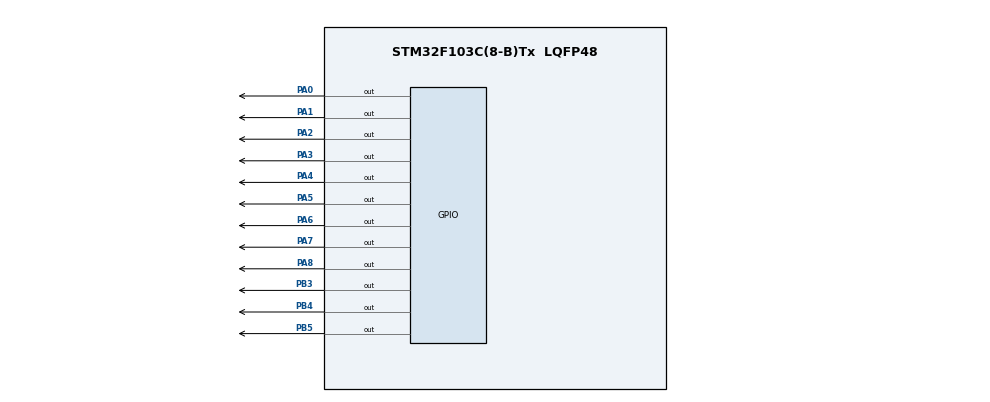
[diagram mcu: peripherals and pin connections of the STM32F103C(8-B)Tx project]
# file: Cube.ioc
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Mcu.Family=STM32F1
Mcu.Name=STM32F103C(8-B)Tx
Mcu.Package=LQFP48
NVIC.PriorityGroup=NVIC_PRIORITYGROUP_4
PA0-WKUP.Signal=GPIO_Output
PA1.Signal=GPIO_Output
PA13.Mode=Serial_Wire
PA13.Signal=SYS_JTMS-SWDIO
PA14.Mode=Serial_Wire
PA14.Signal=SYS_JTCK-SWCLK
PA2.Signal=GPIO_Output
PA3.Signal=GPIO_Output
PA4.Signal=GPIO_Output
PA5.Signal=GPIO_Output
PA6.Signal=GPIO_Output
PA7.Signal=GPIO_Output
PA8.Signal=GPIO_Output
PB3.Signal=GPIO_Output
PB4.Signal=GPIO_Output
PB5.Signal=GPIO_Output
PD0-OSC_IN.Mode=HSE-External-Oscillator
PD0-OSC_IN.Signal=RCC_OSC_IN
PD1-OSC_OUT.Mode=HSE-External-Oscillator
PD1-OSC_OUT.Signal=RCC_OSC_OUT
ProjectManager.HeapSize=0x200
ProjectManager.StackSize=0x400
ProjectManager.TargetToolchain=STM32CubeIDE
RCC.APB1Freq_Value=8000000
RCC.APB2Freq_Value=8000000
board=custom

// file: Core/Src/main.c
/* USER CODE BEGIN Header */
/**
 ******************************************************************************
 * @file           : main.c
 * @brief          : Main program body
 ******************************************************************************
 * @attention
 *
 * Copyright (c) 2024 STMicroelectronics.
 * All rights reserved.
 *
 * This software is licensed under terms that can be found in the LICENSE file
 * in the root directory of this software component.
 * If no LICENSE file comes with this software, it is provided AS-IS.
 *
 ******************************************************************************
 */
/* USER CODE END Header */
#include "main.h"

void SystemClock_Config(void);
static void MX_GPIO_Init(void);
/* USER CODE BEGIN PFP */
void HAL_GPIO_WritePort(GPIO_TypeDef *GPIOx, int GPIO_Port)
{
  /* Check the parameters */
  assert_param(IS_GPIO_PIN(GPIO_Port));
  assert_param(IS_GPIO_PIN_ACTION(PinState));
  GPIOx->ODR = GPIO_Port;
}
/* USER CODE END PFP */

int main(void)
{

  /* MCU Configuration--------------------------------------------------------*/

  /* Reset of all peripherals, Initializes the Flash interface and the Systick. */
  HAL_Init();

  /* USER CODE BEGIN Init */
	HAL_GPIO_WritePin(GPIOB, GPIO_PIN_3, 0);
	HAL_GPIO_WritePort(GPIOA, 0b0000000000000000);
	HAL_GPIO_WritePin(GPIOB, GPIO_PIN_4, 0);
	HAL_GPIO_WritePort(GPIOA, 0b0000000000000000);
	HAL_GPIO_WritePin(GPIOB, GPIO_PIN_5, 0);
	HAL_GPIO_WritePort(GPIOA, 0b0000000000000000);
  /* USER CODE END Init */

  /* Configure the system clock */
  SystemClock_Config();

  /* Initialize all configured peripherals */
  MX_GPIO_Init();

  /* Infinite loop */
	while (1) {

    /* USER CODE BEGIN 3 */
		HAL_GPIO_WritePin(GPIOB, GPIO_PIN_3, 1);
		HAL_GPIO_WritePort(GPIOA, 0b0000000001010101);
		HAL_GPIO_WritePin(GPIOB, GPIO_PIN_4, 1);
		HAL_GPIO_WritePort(GPIOA, 0b0000000001010101);
		HAL_GPIO_WritePin(GPIOB, GPIO_PIN_5, 1);
		HAL_GPIO_WritePort(GPIOA, 0b0000000001010101);
		HAL_Delay(250);
		HAL_GPIO_WritePin(GPIOB, GPIO_PIN_3, 1);
		HAL_GPIO_WritePort(GPIOA, 0b0000000010101010);
		HAL_GPIO_WritePin(GPIOB, GPIO_PIN_4, 1);
		HAL_GPIO_WritePort(GPIOA, 0b0000000001010101);
		HAL_GPIO_WritePin(GPIOB, GPIO_PIN_5, 1);
		HAL_GPIO_WritePort(GPIOA, 0b0000000010101010);
		HAL_Delay(250);
		HAL_GPIO_WritePin(GPIOB, GPIO_PIN_3, 1);
		HAL_GPIO_WritePort(GPIOA, 0b0000000001010101);
		HAL_GPIO_WritePin(GPIOB, GPIO_PIN_4, 1);
		HAL_GPIO_WritePort(GPIOA, 0b0000000001010101);
		HAL_GPIO_WritePin(GPIOB, GPIO_PIN_5, 1);
		HAL_GPIO_WritePort(GPIOA, 0b0000000001010101);
		HAL_Delay(250);
		HAL_GPIO_WritePin(GPIOB, GPIO_PIN_3, 1);
		HAL_GPIO_WritePort(GPIOA, 0b0000000010101010);
		HAL_GPIO_WritePin(GPIOB, GPIO_PIN_4, 1);
		HAL_GPIO_WritePort(GPIOA, 0b0000000001010101);
		HAL_GPIO_WritePin(GPIOB, GPIO_PIN_5, 1);
		HAL_GPIO_WritePort(GPIOA, 0b0000000010101010);
		HAL_Delay(250);
		HAL_GPIO_WritePin(GPIOB, GPIO_PIN_3, 1);
		HAL_GPIO_WritePort(GPIOA, 0b0000000000000000);
		HAL_GPIO_WritePin(GPIOB, GPIO_PIN_4, 1);
		HAL_GPIO_WritePort(GPIOA, 0b0000000000000000);
		HAL_GPIO_WritePin(GPIOB, GPIO_PIN_5, 1);
		HAL_GPIO_WritePort(GPIOA, 0b0000000000000000);
		HAL_Delay(250);

		HAL_GPIO_WritePin(GPIOB, GPIO_PIN_3, 1);
		HAL_GPIO_WritePort(GPIOA, 0b0000000001010101);
		HAL_GPIO_WritePin(GPIOB, GPIO_PIN_5, 1);
		HAL_GPIO_WritePort(GPIOA, 0b0000000001010101);
		HAL_GPIO_WritePin(GPIOB, GPIO_PIN_4, 0);
		HAL_Delay(250);
		HAL_GPIO_WritePin(GPIOB, GPIO_PIN_3, 0);
		HAL_GPIO_WritePort(GPIOA, 0b0000000001010101);
		HAL_GPIO_WritePin(GPIOB, GPIO_PIN_5, 0);
		HAL_GPIO_WritePort(GPIOA, 0b0000000001010101);
		HAL_GPIO_WritePin(GPIOB, GPIO_PIN_4, 1);
		HAL_GPIO_WritePort(GPIOA, 0b0000000100000000);
		HAL_Delay(250);
		HAL_GPIO_WritePin(GPIOB, GPIO_PIN_3, 1);
		HAL_GPIO_WritePort(GPIOA, 0b0000000001010101);
		HAL_GPIO_WritePin(GPIOB, GPIO_PIN_5, 1);
		HAL_GPIO_WritePort(GPIOA, 0b0000000001010101);
		HAL_GPIO_WritePin(GPIOB, GPIO_PIN_4, 0);
		HAL_Delay(250);

		HAL_GPIO_WritePin(GPIOB, GPIO_PIN_3, 1);
		HAL_GPIO_WritePort(GPIOA, 0b0000000010101010);
		HAL_GPIO_WritePin(GPIOB, GPIO_PIN_4, 0);
		HAL_GPIO_WritePin(GPIOB, GPIO_PIN_5, 1);
		HAL_GPIO_WritePort(GPIOA, 0b0000000010101010);
		HAL_Delay(250);
		HAL_GPIO_WritePin(GPIOB, GPIO_PIN_3, 0);
		HAL_GPIO_WritePort(GPIOA, 0b0000000001010101);
		HAL_GPIO_WritePin(GPIOB, GPIO_PIN_5, 0);
		HAL_GPIO_WritePort(GPIOA, 0b0000000001010101);
		HAL_GPIO_WritePin(GPIOB, GPIO_PIN_4, 1);
		HAL_GPIO_WritePort(GPIOA, 0b0000000100000000);
		HAL_Delay(250);
		HAL_GPIO_WritePin(GPIOB, GPIO_PIN_3, 1);
		HAL_GPIO_WritePort(GPIOA, 0b0000000010101010);
		HAL_GPIO_WritePin(GPIOB, GPIO_PIN_4, 0);
		HAL_GPIO_WritePin(GPIOB, GPIO_PIN_5, 1);
		HAL_GPIO_WritePort(GPIOA, 0b0000000010101010);
		HAL_Delay(250);
		HAL_GPIO_WritePin(GPIOB, GPIO_PIN_3, 1);
		HAL_GPIO_WritePort(GPIOA, 0b0000000000000000);
		HAL_GPIO_WritePin(GPIOB, GPIO_PIN_4, 0);
		HAL_GPIO_WritePin(GPIOB, GPIO_PIN_5, 1);
		HAL_GPIO_WritePort(GPIOA, 0b0000000000000000);
		HAL_Delay(250);

		HAL_GPIO_WritePin(GPIOB, GPIO_PIN_3, 1);
		HAL_GPIO_WritePort(GPIOA, 0b0000000000000001);
		HAL_GPIO_WritePin(GPIOB, GPIO_PIN_4, 1);
		HAL_GPIO_WritePort(GPIOA, 0b0000000000000001);
		HAL_GPIO_WritePin(GPIOB, GPIO_PIN_5, 1);
		HAL_GPIO_WritePort(GPIOA, 0b0000000000000001);
		HAL_Delay(100);
		HAL_GPIO_WritePin(GPIOB, GPIO_PIN_3, 1);
		HAL_GPIO_WritePort(GPIOA, 0b0000000000000011);
		HAL_GPIO_WritePin(GPIOB, GPIO_PIN_4, 1);
		HAL_GPIO_WritePort(GPIOA, 0b0000000000000011);
		HAL_GPIO_WritePin(GPIOB, GPIO_PIN_5, 1);
		HAL_GPIO_WritePort(GPIOA, 0b0000000000000011);
		HAL_Delay(100);
		HAL_GPIO_WritePin(GPIOB, GPIO_PIN_3, 1);
		HAL_GPIO_WritePort(GPIOA, 0b0000000000000111);
		HAL_GPIO_WritePin(GPIOB, GPIO_PIN_4, 1);
		HAL_GPIO_WritePort(GPIOA, 0b0000000000000111);
		HAL_GPIO_WritePin(GPIOB, GPIO_PIN_5, 1);
		HAL_GPIO_WritePort(GPIOA, 0b0000000000000111);
		HAL_Delay(100);
		HAL_GPIO_WritePin(GPIOB, GPIO_PIN_3, 1);
		HAL_GPIO_WritePort(GPIOA, 0b0000000000001111);
		HAL_GPIO_WritePin(GPIOB, GPIO_PIN_4, 1);
		HAL_GPIO_WritePort(GPIOA, 0b0000000000001111);
		HAL_GPIO_WritePin(GPIOB, GPIO_PIN_5, 1);
		HAL_GPIO_WritePort(GPIOA, 0b0000000000001111);
		HAL_Delay(100);
		HAL_GPIO_WritePin(GPIOB, GPIO_PIN_3, 1);
		HAL_GPIO_WritePort(GPIOA, 0b0000000000011111);
		HAL_GPIO_WritePin(GPIOB, GPIO_PIN_4, 1);
		HAL_GPIO_WritePort(GPIOA, 0b0000000000011111);
		HAL_GPIO_WritePin(GPIOB, GPIO_PIN_5, 1);
		HAL_GPIO_WritePort(GPIOA, 0b0000000000011111);
		HAL_Delay(100);
		HAL_GPIO_WritePin(GPIOB, GPIO_PIN_3, 1);
		HAL_GPIO_WritePort(GPIOA, 0b0000000000111111);
		HAL_GPIO_WritePin(GPIOB, GPIO_PIN_4, 1);
		HAL_GPIO_WritePort(GPIOA, 0b0000000000111111);
		HAL_GPIO_WritePin(GPIOB, GPIO_PIN_5, 1);
		HAL_GPIO_WritePort(GPIOA, 0b0000000000111111);
		HAL_Delay(100);
		HAL_GPIO_WritePin(GPIOB, GPIO_PIN_3, 1);
		HAL_GPIO_WritePort(GPIOA, 0b0000000001111111);
		HAL_GPIO_WritePin(GPIOB, GPIO_PIN_4, 1);
		HAL_GPIO_WritePort(GPIOA, 0b0000000001111111);
		HAL_GPIO_WritePin(GPIOB, GPIO_PIN_5, 1);
		HAL_GPIO_WritePort(GPIOA, 0b0000000001111111);
		HAL_Delay(100);
		HAL_GPIO_WritePin(GPIOB, GPIO_PIN_3, 1);
		HAL_GPIO_WritePort(GPIOA, 0b0000000011111111);
		HAL_GPIO_WritePin(GPIOB, GPIO_PIN_4, 1);
		HAL_GPIO_WritePort(GPIOA, 0b0000000011111111);
		HAL_GPIO_WritePin(GPIOB, GPIO_PIN_5, 1);
		HAL_GPIO_WritePort(GPIOA, 0b0000000011111111);
		HAL_Delay(100);
		HAL_GPIO_WritePin(GPIOB, GPIO_PIN_3, 1);
		HAL_GPIO_WritePort(GPIOA, 0b0000000111111111);
		HAL_GPIO_WritePin(GPIOB, GPIO_PIN_4, 1);
		HAL_GPIO_WritePort(GPIOA, 0b0000000111111111);
		HAL_GPIO_WritePin(GPIOB, GPIO_PIN_5, 1);
		HAL_GPIO_WritePort(GPIOA, 0b0000000111111111);
		HAL_Delay(100);

		HAL_GPIO_WritePin(GPIOB, GPIO_PIN_3, 1);
		HAL_GPIO_WritePort(GPIOA, 0b0000000111111111);
		HAL_GPIO_WritePin(GPIOB, GPIO_PIN_4, 1);
		HAL_GPIO_WritePort(GPIOA, 0b0000000111111111);
		HAL_GPIO_WritePin(GPIOB, GPIO_PIN_5, 1);
		HAL_GPIO_WritePort(GPIOA, 0b0000000111111111);
		HAL_Delay(100);
		HAL_GPIO_WritePin(GPIOB, GPIO_PIN_3, 1);
		HAL_GPIO_WritePort(GPIOA, 0b0000000011111111);
		HAL_GPIO_WritePin(GPIOB, GPIO_PIN_4, 1);
		HAL_GPIO_WritePort(GPIOA, 0b0000000011111111);
		HAL_GPIO_WritePin(GPIOB, GPIO_PIN_5, 1);
		HAL_GPIO_WritePort(GPIOA, 0b0000000011111111);
		HAL_Delay(100);
		HAL_GPIO_WritePin(GPIOB, GPIO_PIN_3, 1);
		HAL_GPIO_WritePort(GPIOA, 0b0000000001111111);
		HAL_GPIO_WritePin(GPIOB, GPIO_PIN_4, 1);
		HAL_GPIO_WritePort(GPIOA, 0b0000000001111111);
		HAL_GPIO_WritePin(GPIOB, GPIO_PIN_5, 1);
		HAL_GPIO_WritePort(GPIOA, 0b0000000001111111);
		HAL_Delay(100);
		HAL_GPIO_WritePin(GPIOB, GPIO_PIN_3, 1);
		HAL_GPIO_WritePort(GPIOA, 0b0000000000111111);
		HAL_GPIO_WritePin(GPIOB, GPIO_PIN_4, 1);
		HAL_GPIO_WritePort(GPIOA, 0b0000000000111111);
		HAL_GPIO_WritePin(GPIOB, GPIO_PIN_5, 1);
		HAL_GPIO_WritePort(GPIOA, 0b0000000000111111);
		HAL_Delay(100);
		HAL_GPIO_WritePin(GPIOB, GPIO_PIN_3, 1);
		HAL_GPIO_WritePort(GPIOA, 0b0000000000011111);
		HAL_GPIO_WritePin(GPIOB, GPIO_PIN_4, 1);
		HAL_GPIO_WritePort(GPIOA, 0b0000000000011111);
		HAL_GPIO_WritePin(GPIOB, GPIO_PIN_5, 1);
		HAL_GPIO_WritePort(GPIOA, 0b0000000000011111);
		HAL_Delay(100);
		HAL_GPIO_WritePin(GPIOB, GPIO_PIN_3, 1);
		HAL_GPIO_WritePort(GPIOA, 0b0000000000001111);
		HAL_GPIO_WritePin(GPIOB, GPIO_PIN_4, 1);
		HAL_GPIO_WritePort(GPIOA, 0b0000000000001111);
		HAL_GPIO_WritePin(GPIOB, GPIO_PIN_5, 1);
		HAL_GPIO_WritePort(GPIOA, 0b0000000000001111);
		HAL_Delay(100);
		HAL_GPIO_WritePin(GPIOB, GPIO_PIN_3, 1);
		HAL_GPIO_WritePort(GPIOA, 0b0000000000000111);
		HAL_GPIO_WritePin(GPIOB, GPIO_PIN_4, 1);
		HAL_GPIO_WritePort(GPIOA, 0b0000000000000111);
		HAL_GPIO_WritePin(GPIOB, GPIO_PIN_5, 1);
		HAL_GPIO_WritePort(GPIOA, 0b0000000000000111);
		HAL_Delay(100);
		HAL_GPIO_WritePin(GPIOB, GPIO_PIN_3, 1);
		HAL_GPIO_WritePort(GPIOA, 0b0000000000000011);
		HAL_GPIO_WritePin(GPIOB, GPIO_PIN_4, 1);
		HAL_GPIO_WritePort(GPIOA, 0b0000000000000011);
		HAL_GPIO_WritePin(GPIOB, GPIO_PIN_5, 1);
		HAL_GPIO_WritePort(GPIOA, 0b0000000000000011);
		HAL_Delay(100);
		HAL_GPIO_WritePort(GPIOA, 0b0000000000000001);
		HAL_GPIO_WritePin(GPIOB, GPIO_PIN_4, 1);
		HAL_GPIO_WritePort(GPIOA, 0b0000000000000001);
		HAL_GPIO_WritePin(GPIOB, GPIO_PIN_5, 1);
		HAL_GPIO_WritePort(GPIOA, 0b0000000000000001);
		HAL_Delay(100);

		HAL_GPIO_WritePin(GPIOB, GPIO_PIN_3, 1);
		HAL_GPIO_WritePort(GPIOA, 0b0000000000000000);
		HAL_GPIO_WritePin(GPIOB, GPIO_PIN_4, 1);
		HAL_GPIO_WritePort(GPIOA, 0b0000000000000000);
		HAL_GPIO_WritePin(GPIOB, GPIO_PIN_5, 1);
		HAL_GPIO_WritePort(GPIOA, 0b0000000000000000);
		HAL_Delay(250);
	}
  /* USER CODE END 3 */
}

void SystemClock_Config(void)
{
  RCC_OscInitTypeDef RCC_OscInitStruct = {0};
  RCC_ClkInitTypeDef RCC_ClkInitStruct = {0};

  /** Initializes the RCC Oscillators according to the specified parameters
  * in the RCC_OscInitTypeDef structure.
  */
  RCC_OscInitStruct.OscillatorType = RCC_OSCILLATORTYPE_HSI;
  RCC_OscInitStruct.HSIState = RCC_HSI_ON;
  RCC_OscInitStruct.HSICalibrationValue = RCC_HSICALIBRATION_DEFAULT;
  RCC_OscInitStruct.PLL.PLLState = RCC_PLL_NONE;
  if (HAL_RCC_OscConfig(&RCC_OscInitStruct) != HAL_OK)
  {
    Error_Handler();
  }

  /** Initializes the CPU, AHB and APB buses clocks
  */
  RCC_ClkInitStruct.ClockType = RCC_CLOCKTYPE_HCLK|RCC_CLOCKTYPE_SYSCLK
                              |RCC_CLOCKTYPE_PCLK1|RCC_CLOCKTYPE_PCLK2;
  RCC_ClkInitStruct.SYSCLKSource = RCC_SYSCLKSOURCE_HSI;
  RCC_ClkInitStruct.AHBCLKDivider = RCC_SYSCLK_DIV1;
  RCC_ClkInitStruct.APB1CLKDivider = RCC_HCLK_DIV1;
  RCC_ClkInitStruct.APB2CLKDivider = RCC_HCLK_DIV1;

  if (HAL_RCC_ClockConfig(&RCC_ClkInitStruct, FLASH_LATENCY_0) != HAL_OK)
  {
    Error_Handler();
  }
}

static void MX_GPIO_Init(void)
{
  GPIO_InitTypeDef GPIO_InitStruct = {0};

  /* GPIO Ports Clock Enable */
  __HAL_RCC_GPIOD_CLK_ENABLE();
  __HAL_RCC_GPIOA_CLK_ENABLE();
  __HAL_RCC_GPIOB_CLK_ENABLE();

  /*Configure GPIO pin Output Level */
  HAL_GPIO_WritePin(GPIOA, GPIO_PIN_0|GPIO_PIN_1|GPIO_PIN_2|GPIO_PIN_3
                          |GPIO_PIN_4|GPIO_PIN_5|GPIO_PIN_6|GPIO_PIN_7
                          |GPIO_PIN_8, GPIO_PIN_RESET);

  /*Configure GPIO pin Output Level */
  HAL_GPIO_WritePin(GPIOB, GPIO_PIN_3|GPIO_PIN_4|GPIO_PIN_5, GPIO_PIN_RESET);

  /*Configure GPIO pins : PA0 PA1 PA2 PA3
                           PA4 PA5 PA6 PA7
                           PA8 */
  GPIO_InitStruct.Pin = GPIO_PIN_0|GPIO_PIN_1|GPIO_PIN_2|GPIO_PIN_3
                          |GPIO_PIN_4|GPIO_PIN_5|GPIO_PIN_6|GPIO_PIN_7
                          |GPIO_PIN_8;
  GPIO_InitStruct.Mode = GPIO_MODE_OUTPUT_PP;
  GPIO_InitStruct.Pull = GPIO_NOPULL;
  GPIO_InitStruct.Speed = GPIO_SPEED_FREQ_LOW;
  HAL_GPIO_Init(GPIOA, &GPIO_InitStruct);

  /*Configure GPIO pins : PB3 PB4 PB5 */
  GPIO_InitStruct.Pin = GPIO_PIN_3|GPIO_PIN_4|GPIO_PIN_5;
  GPIO_InitStruct.Mode = GPIO_MODE_OUTPUT_PP;
  GPIO_InitStruct.Pull = GPIO_NOPULL;
  GPIO_InitStruct.Speed = GPIO_SPEED_FREQ_LOW;
  HAL_GPIO_Init(GPIOB, &GPIO_InitStruct);

}

void Error_Handler(void)
{
	__disable_irq();
	while (1) {
	}
}
